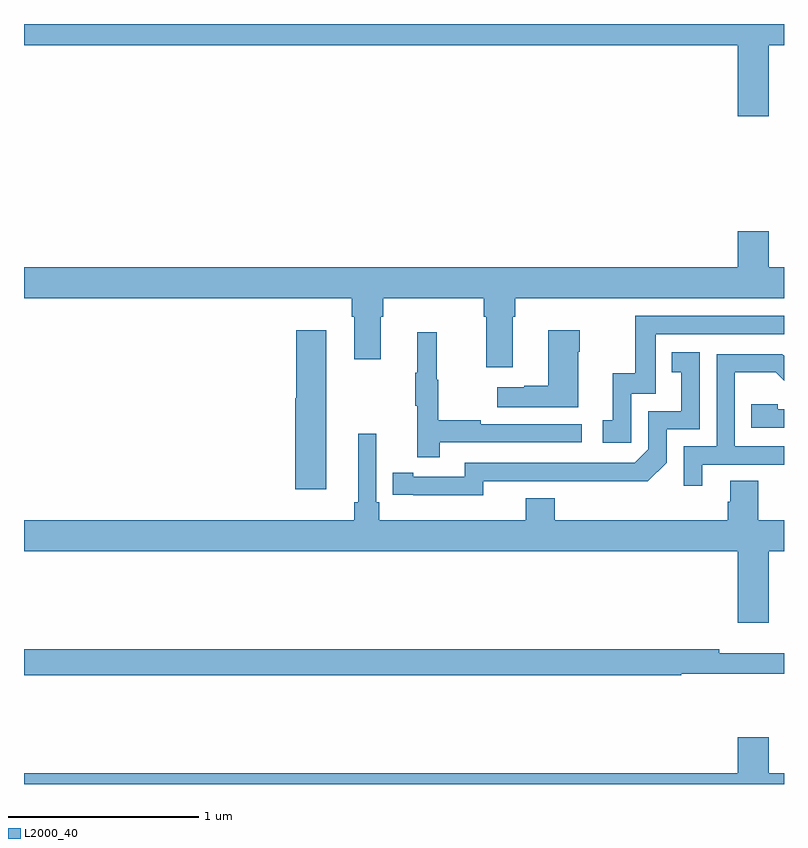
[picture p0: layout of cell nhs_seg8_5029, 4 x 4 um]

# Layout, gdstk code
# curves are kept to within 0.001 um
import gdstk
lib = gdstk.Library(unit=1e-6, precision=1e-09)
def P(c, l, *ps):  # polygons
    for p in ps: c.add(gdstk.Polygon(p, *l))
L2000_40 = (2000, 40)

nhs_seg8_5029 = lib.new_cell('nhs_seg8_5029')
P(nhs_seg8_5029, L2000_40, [(416.92,1161.788),(417,1161.788),(417,1161.9),(413,1161.9),(413,1161.788),(416.756,1161.788),(416.756,1161.414),(416.92,1161.414)],
  [(415.573,1160.36),(415.586,1160.36),(415.586,1160.456),(417,1160.456),(417,1160.62),(416.92,1160.62),(416.92,1160.809),(416.756,1160.809),(416.756,1160.62),(413,1160.62),(413,1160.456),(414.725,1160.456),(414.725,1160.36),(414.737,1160.36),(414.737,1160.136),(414.877,1160.136),(414.877,1160.36),(414.89,1160.36),(414.89,1160.456),(415.421,1160.456),(415.421,1160.36),(415.433,1160.36),(415.433,1160.094),(415.573,1160.094)],
  [(416.196,1159.953),(416.325,1159.953),(416.325,1160.268),(417,1160.268),(417,1160.364),(416.217,1160.364),(416.217,1160.062),(416.099,1160.062),(416.099,1159.815),(416.046,1159.815),(416.046,1159.695),(416.196,1159.695)],
  [(415.918,1160.174),(415.926,1160.174),(415.926,1160.287),(415.76,1160.287),(415.76,1159.997),(415.634,1159.997),(415.634,1159.987),(415.491,1159.987),(415.491,1159.883),(415.918,1159.883)],
  [(414.592,1160.287),(414.434,1160.287),(414.434,1159.929),(414.428,1159.929),(414.428,1159.452),(414.592,1159.452)],
  [(415.187,1159.698),(415.936,1159.698),(415.936,1159.794),(415.403,1159.794),(415.403,1159.814),(415.18,1159.814),(415.18,1160.028),(415.172,1160.028),(415.172,1160.278),(415.07,1160.278),(415.07,1160.065),(415.059,1160.065),(415.059,1159.891),(415.07,1159.891),(415.07,1159.62),(415.187,1159.62)],
  [(415.416,1159.494),(416.284,1159.493),(416.382,1159.59),(416.382,1159.767),(416.556,1159.767),(416.556,1160.173),(416.41,1160.173),(416.41,1160.067),(416.459,1160.067),(416.459,1159.863),(416.286,1159.863),(416.286,1159.662),(416.214,1159.59),(415.32,1159.59),(415.32,1159.518),(415.048,1159.518),(415.048,1159.538),(414.94,1159.538),(414.94,1159.422),(415.416,1159.421)],
  [(416.569,1159.581),(417,1159.581),(417,1159.677),(416.742,1159.677),(416.742,1160.066),(416.956,1160.066),(417,1160.022),(417,1160.155),(416.992,1160.163),(416.646,1160.163),(416.646,1159.677),(416.472,1159.677),(416.472,1159.47),(416.569,1159.47)],
  [(417,1159.872),(416.967,1159.872),(416.967,1159.899),(416.827,1159.899),(416.827,1159.776),(417,1159.776)],
  [(416.865,1159.496),(416.717,1159.496),(416.717,1159.386),(416.705,1159.386),(416.705,1159.288),(415.793,1159.288),(415.793,1159.405),(415.64,1159.405),(415.64,1159.288),(414.869,1159.288),(414.869,1159.384),(414.855,1159.384),(414.855,1159.744),(414.758,1159.744),(414.758,1159.384),(414.739,1159.384),(414.739,1159.288),(413,1159.288),(413,1159.124),(416.756,1159.124),(416.756,1158.75),(416.92,1158.75),(416.92,1159.124),(417,1159.124),(417,1159.288),(416.865,1159.288)],
  [(416.458,1158.48),(417,1158.48),(417,1158.589),(416.66,1158.589),(416.66,1158.608),(413,1158.608),(413,1158.472),(416.458,1158.472)],
  [(417,1157.956),(416.92,1157.956),(416.92,1158.145),(416.756,1158.145),(416.756,1157.956),(413,1157.956),(413,1157.9),(417,1157.9)])

lib.write_gds('nhs_seg8_5029.gds')
